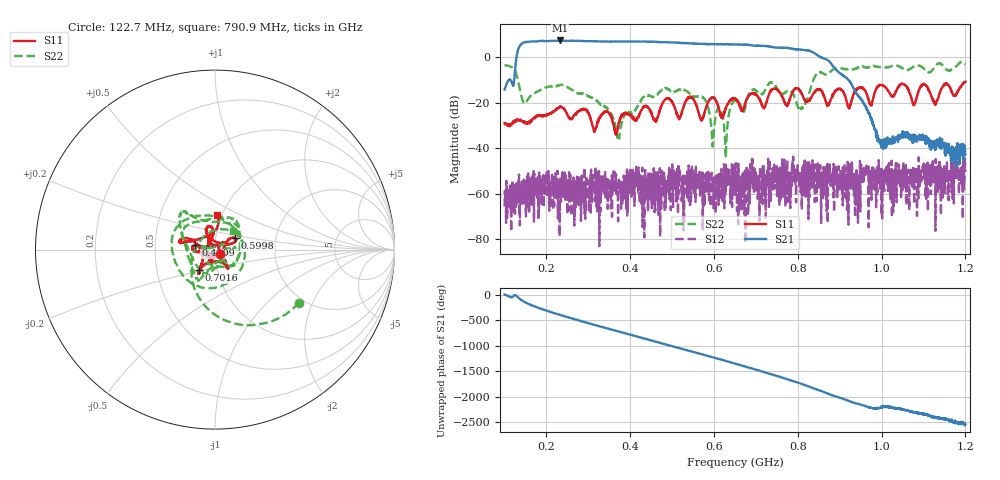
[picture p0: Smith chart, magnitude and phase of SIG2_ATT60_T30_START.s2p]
# Hz S DB R 50
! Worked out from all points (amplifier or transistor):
!   1601 points, 100 MHz to 1.2 GHz, reference 50 ohm
!   highest |S21| = 7.4 dB at 232 MHz (marker M1)
!   |S21| within 3 dB of that: 134.4 MHz to 741.6 MHz (607.2 MHz wide, 139 % of centre)
!   unconditionally stable (mu >= 1): start of sweep to end of sweep
!   at 282.9 MHz: K = 386.77, MAG = 7.3 dB, |S12| = -65.2 dB
!   at 650 MHz: K = 187.84, MAG = 5.7 dB, |S12| = -57.3 dB
!   at 1.2 GHz: K = 10863.18, MAG = -39.5 dB, |S12| = -50.4 dB
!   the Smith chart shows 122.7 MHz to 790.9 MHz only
!   S11 on the Smith chart (normalised r, x): 122.7 MHz: 1.06, -0.05; 480.9 MHz: 0.80, +0.04; 599.8 MHz: 1.24, +0.16; 701.6 MHz: 0.81, -0.19; 790.9 MHz: 0.95, +0.38
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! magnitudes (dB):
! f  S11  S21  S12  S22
! 100 MHz  -28.9  -14.2  -65.6  -3.6
! 122.7 MHz  -28.3  -10.3  -56.1  -5.1
! 147.4 MHz  -28.4  6.6  -54.0  -20.5
! 232 MHz  -21.9  7.4  -53.4  -12.2
! 283.6 MHz  -23.0  7.2  -59.5  -16.0
! 371.6 MHz  -30.2  6.9  -58.8  -36.6
! 467.1 MHz  -25.6  6.7  -69.3  -15.7
! 480.9 MHz  -19.1  6.7  -50.8  -13.6
! 573.7 MHz  -26.3  5.8  -61.9  -17.8
! 599.8 MHz  -17.8  5.7  -59.4  -31.0
! 612.9 MHz  -23.7  5.8  -56.7  -22.4
! 628.7 MHz  -21.8  5.6  -49.9  -39.6
! 650 MHz  -18.0  5.6  -57.3  -19.1
! 701.6 MHz  -16.7  5.0  -56.4  -15.0
! 790.9 MHz  -14.3  3.6  -53.2  -16.7
! 808.8 MHz  -15.9  3.3  -50.5  -22.7
! 833.6 MHz  -17.2  2.5  -53.1  -11.8
! 1.017 GHz  -15.2  -38.0  -50.3  -4.3
! 1.078 GHz  -21.0  -35.0  -64.5  -4.0
! 1.102 GHz  -11.9  -35.2  -53.2  -5.2
! 1.129 GHz  -20.9  -36.8  -76.3  -3.8
! 1.2 GHz  -10.7  -42.8  -50.4  -3.2
